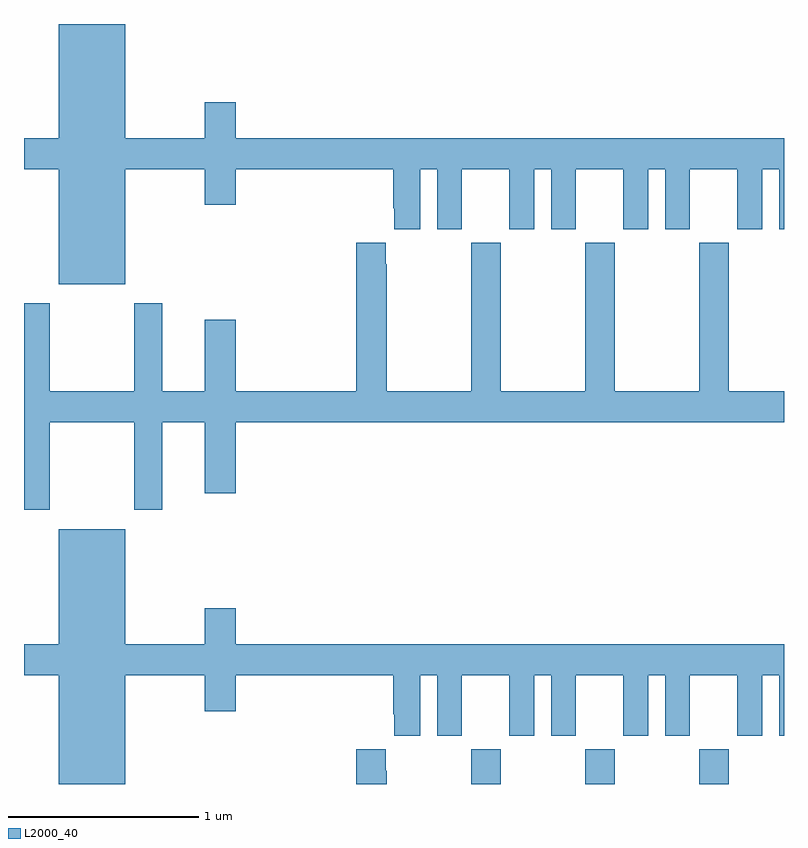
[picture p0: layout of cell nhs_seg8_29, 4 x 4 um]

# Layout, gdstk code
import gdstk
lib = gdstk.Library(unit=1e-6, precision=1e-09)
def R(c, l, rs):  # rectangles x0, y0, x1, y1
    for r in rs: c.add(gdstk.rectangle(r[:2], r[2:], *l))
def A(c, l, x, y, w, h, nx, ny, dx, dy):  # array of equal rectangles
    R(c, l, [(x+i*dx, y+j*dy, x+i*dx+w, y+j*dy+h) for i in range(nx) for j in range(ny)])
def P(c, l, *ps):  # polygons
    for p in ps: c.add(gdstk.Polygon(p, *l))
L2000_40 = (2000, 40)

nhs_seg8_29 = lib.new_cell('nhs_seg8_29')
A(nhs_seg8_29, L2000_40, 113.353, 1143.9, 0.155, 0.184, 3, 1, 0.6, 0)
P(nhs_seg8_29, L2000_40, [(111.532,1147.136),(111.95,1147.136),(111.95,1146.948),(112.114,1146.948),(112.114,1147.136),(112.943,1147.136),(112.943,1146.931),(112.949,1146.931),(112.949,1146.819),(113.086,1146.819),(113.086,1147.136),(113.174,1147.136),(113.174,1146.819),(113.305,1146.819),(113.305,1147.136),(113.555,1147.136),(113.555,1146.819),(113.686,1146.819),(113.686,1147.136),(113.774,1147.136),(113.774,1146.819),(113.905,1146.819),(113.905,1147.136),(114.155,1147.136),(114.155,1146.819),(114.286,1146.819),(114.286,1147.136),(114.374,1147.136),(114.374,1146.819),(114.505,1146.819),(114.505,1147.136),(114.755,1147.136),(114.755,1146.819),(114.886,1146.819),(114.886,1147.136),(114.974,1147.136),(114.974,1146.819),(115,1146.819),(115,1147.3),(112.114,1147.3),(112.114,1147.489),(111.95,1147.489),(111.95,1147.3),(111.532,1147.3),(111.532,1147.9),(111.182,1147.9),(111.182,1147.3),(111,1147.3),(111,1147.136),(111.182,1147.136),(111.182,1146.53),(111.532,1146.53)],
  [(111.135,1145.804),(111.58,1145.804),(111.58,1145.343),(111.727,1145.343),(111.727,1145.804),(111.95,1145.804),(111.95,1145.43),(112.114,1145.43),(112.114,1145.804),(115,1145.804),(115,1145.968),(114.708,1145.968),(114.708,1146.748),(114.553,1146.748),(114.553,1145.968),(114.108,1145.968),(114.108,1146.748),(113.953,1146.748),(113.953,1145.968),(113.508,1145.968),(113.508,1146.748),(113.353,1146.748),(113.353,1145.968),(112.908,1145.968),(112.908,1146.635),(112.903,1146.635),(112.903,1146.748),(112.748,1146.748),(112.748,1145.968),(112.114,1145.968),(112.114,1146.343),(111.95,1146.343),(111.95,1145.968),(111.727,1145.968),(111.727,1146.43),(111.58,1146.43),(111.58,1145.968),(111.135,1145.968),(111.135,1146.43),(111,1146.43),(111,1145.343),(111.135,1145.343)],
  [(111.532,1144.472),(111.95,1144.472),(111.95,1144.284),(112.114,1144.284),(112.114,1144.472),(112.943,1144.472),(112.943,1144.267),(112.949,1144.267),(112.949,1144.155),(113.086,1144.155),(113.086,1144.472),(113.174,1144.472),(113.174,1144.155),(113.305,1144.155),(113.305,1144.472),(113.555,1144.472),(113.555,1144.155),(113.686,1144.155),(113.686,1144.472),(113.774,1144.472),(113.774,1144.155),(113.905,1144.155),(113.905,1144.472),(114.155,1144.472),(114.155,1144.155),(114.286,1144.155),(114.286,1144.472),(114.374,1144.472),(114.374,1144.155),(114.505,1144.155),(114.505,1144.472),(114.755,1144.472),(114.755,1144.155),(114.886,1144.155),(114.886,1144.472),(114.974,1144.472),(114.974,1144.155),(115,1144.155),(115,1144.636),(112.114,1144.636),(112.114,1144.825),(111.95,1144.825),(111.95,1144.636),(111.532,1144.636),(111.532,1145.242),(111.182,1145.242),(111.182,1144.636),(111,1144.636),(111,1144.472),(111.182,1144.472),(111.182,1143.9),(111.532,1143.9)],
  [(112.908,1143.971),(112.903,1143.971),(112.903,1144.084),(112.748,1144.084),(112.748,1143.9),(112.908,1143.9)])

lib.write_gds('nhs_seg8_29.gds')
